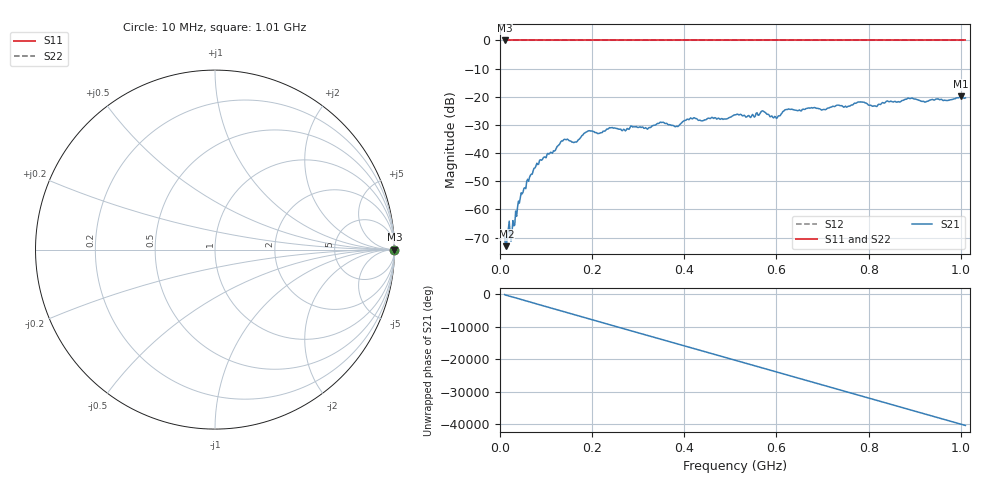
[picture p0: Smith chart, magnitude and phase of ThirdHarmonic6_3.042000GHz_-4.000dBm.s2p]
! 8/17/2025 8:48:40 AM
! C:\ANRITSUVNA\TEMP\TEMP.S2P
! CHANNEL.1
! TR.MEASUREMENT
! RAW.DATA
! RF.CORRECTION.OFF
! AVERAGING.OFF
! IF.BANDWIDTH: 5KHZ
! SWEEPTYPE:  FREQ.SWEEP(Linear)
! Reference Plane Port Info
! PORT:  PORT1  PORT2
! DISTANCE:  0  m  0  m
! TIME:  0  s  0  s
! PHASE.OFFSET:  0  deg.  0  deg.
! LOSS:  0  dB  0  dB
! REF.LOSS:  0  dB  0  dB
! REF.FREQ:  0  Hz  0  Hz
! Power Info
! POWER:  -20  dBm  -20  dBm
! EFF.POWER:  -20  dBm  -20  dBm
! SOURCE.ATTEN:  0  dB  0  dB
! TEST.ATTEN:  0  dB  0  dB
# GHZ S RI R 50.0
! FREQ.GHZ  S11RE  S11IM  S21RE  S21IM  S12RE  S12IM  S22RE  S22IM
!; PortSelection: Port_12
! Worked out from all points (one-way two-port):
!   501 points, 10 MHz to 1.01 GHz, reference 50 ohm
!   highest |S21| = -19.77 dB at 1 GHz (marker M1); lowest = -73.0 dB at 14 MHz (marker M2)
!   lowest |S11| = 0.0 dB at 10 MHz (marker M3)
!   |S11| at or under -10 dB: nowhere
!   |S22| runs from 0.0 to 0.0 dB; largest |S21 - S12| = 1.1
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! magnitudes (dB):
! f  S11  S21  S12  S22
! 10 MHz  0.0  -69.7  0.0  0.0
! 14 MHz  0.0  -73.0  0.0  0.0
! 28 MHz  0.0  -64.0  0.0  0.0
! 44 MHz  0.0  -56.0  0.0  0.0
! 76 MHz  0.0  -45.3  0.0  0.0
! 136 MHz  0.0  -35.7  0.0  0.0
! 164 MHz  0.0  -36.0  0.0  0.0
! 178 MHz  0.0  -33.8  0.0  0.0
! 194 MHz  0.0  -32.0  0.0  0.0
! 322 MHz  0.0  -31.1  0.0  0.0
! 344 MHz  0.0  -29.5  0.0  0.0
! 384 MHz  0.0  -30.4  0.0  0.0
! 418 MHz  0.0  -27.8  0.0  0.0
! 510 MHz  0.0  -26.4  0.0  0.0
! 570 MHz  0.0  -25.0  0.0  0.0
! 598 MHz  0.0  -27.1  0.0  0.0
! 622 MHz  0.0  -24.5  0.0  0.0
! 678 MHz  0.0  -24.0  0.0  0.0
! 814 MHz  0.0  -23.2  0.0  0.0
! 844 MHz  0.0  -21.7  0.0  0.0
! 1 GHz  0.0  -19.8  0.0  0.0
! 1.01 GHz  0.0  -20.4  0.0  0.0
